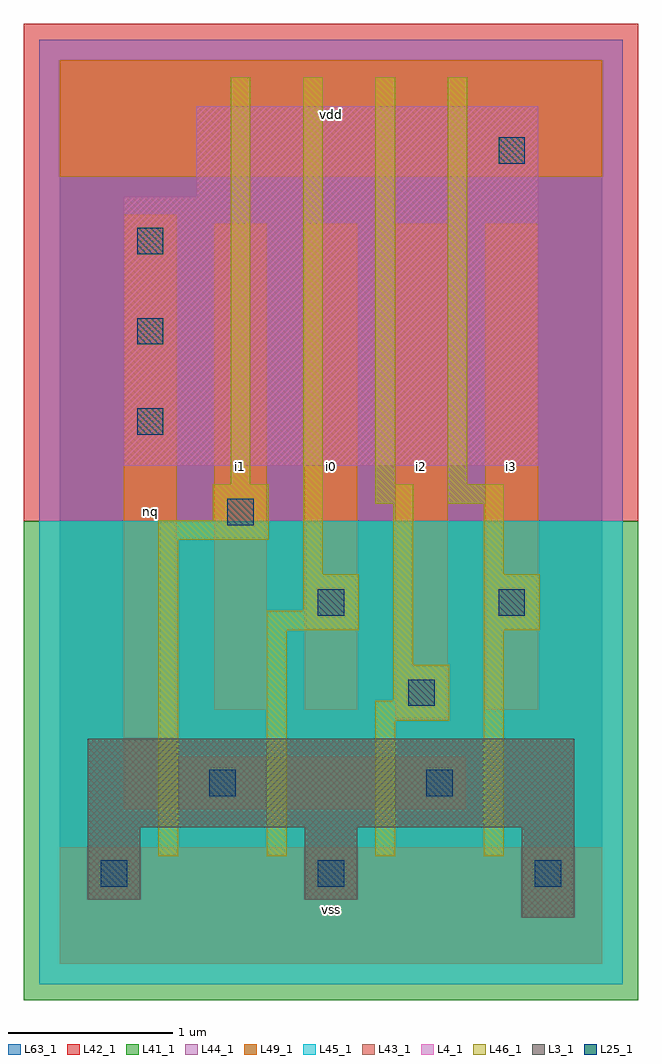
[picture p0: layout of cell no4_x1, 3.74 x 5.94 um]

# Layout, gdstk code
import gdstk
lib = gdstk.Library(unit=1e-6, precision=1e-09)
def R(c, l, rs):  # rectangles x0, y0, x1, y1
    for r in rs: c.add(gdstk.rectangle(r[:2], r[2:], *l))
def A(c, l, x, y, w, h, nx, ny, dx, dy):  # array of equal rectangles
    R(c, l, [(x+i*dx, y+j*dy, x+i*dx+w, y+j*dy+h) for i in range(nx) for j in range(ny)])
L3_1 = (3, 1)
L4_1 = (4, 1)
L25_1 = (25, 1)
L41_1 = (41, 1)
L42_1 = (42, 1)
L43_1 = (43, 1)
L44_1 = (44, 1)
L45_1 = (45, 1)
L46_1 = (46, 1)
L49_1 = (49, 1)
L63_1 = (63, 1)

no4_x1 = lib.new_cell('no4_x1')
R(no4_x1, L3_1, [(2.81,0.28,3.13,0.83), (0.17,0.39,0.49,0.83), (1.49,0.39,1.81,0.83), (0.17,0.83,3.13,1.37)])
R(no4_x1, L4_1, [(0.39,3.03,2.91,4.67), (0.83,4.67,2.91,5.22)])
A(no4_x1, L25_1, 0.25, 0.47, 0.16, 0.16, 3, 1, 1.32, 0)
A(no4_x1, L25_1, 0.47, 3.22, 0.16, 0.16, 1, 3, 0, 0.55)
R(no4_x1, L25_1, [(0.91,1.02,1.07,1.18), (2.23,1.02,2.39,1.18), (2.12,1.57,2.28,1.73), (1.57,2.12,1.73,2.28), (2.67,2.12,2.83,2.28), (1.02,2.67,1.18,2.83), (2.67,4.87,2.83,5.03)])
R(no4_x1, L41_1, [(-0.22,-0.22,3.52,2.695)])
R(no4_x1, L42_1, [(-0.22,2.695,3.52,5.72)])
R(no4_x1, L43_1, [(2.81,0.28,3.13,0.83), (0.17,0.39,0.49,0.83), (1.49,0.39,1.81,0.83), (0.17,0.83,3.13,1.37), (0.39,3.03,2.91,4.67), (0.83,4.67,2.91,5.22)])
R(no4_x1, L44_1, [(-0.125,2.695,3.425,5.625)])
R(no4_x1, L45_1, [(-0.125,-0.125,3.425,2.695)])
R(no4_x1, L46_1, [(0.6,0.655,0.72,2.58), (1.26,0.655,1.38,2.03), (1.92,0.655,2.04,1.48), (2.58,0.655,2.7,2.03), (1.92,1.48,2.37,1.6), (2.03,1.6,2.37,1.82), (2.03,1.82,2.15,2.8), (1.26,2.03,1.82,2.15), (2.58,2.03,2.92,2.37), (1.48,2.15,1.82,2.37), (1.48,2.37,1.6,5.395), (2.58,2.37,2.7,2.8), (0.6,2.58,1.27,2.7), (0.93,2.7,1.27,2.92), (1.92,2.8,2.15,2.92), (2.36,2.8,2.7,2.92), (1.04,2.92,1.16,5.395), (1.92,2.92,2.04,5.395), (2.36,2.92,2.48,5.395)])
R(no4_x1, L49_1, [(0,0,3.3,0.71), (0.39,0.94,2.47,1.26), (0.39,1.26,0.71,4.56), (2.04,1.49,2.36,4.505), (0.94,1.545,1.26,4.505), (1.49,1.545,1.81,4.505), (2.59,1.545,2.91,4.505), (0,4.79,3.3,5.5)])
R(no4_x1, L63_1, [(0,0,3.3,5.5)])
no4_x1.add(gdstk.Label('nq', (0.55,2.75), layer=49, texttype=1))
no4_x1.add(gdstk.Label('nq', (0.55,2.75), layer=49, texttype=1))
no4_x1.add(gdstk.Label('i1', (1.1,3.025), layer=49, texttype=1))
no4_x1.add(gdstk.Label('i1', (1.1,3.025), layer=49, texttype=1))
no4_x1.add(gdstk.Label('vss', (1.65,0.33), layer=49, texttype=1))
no4_x1.add(gdstk.Label('vss', (1.65,0.33), layer=49, texttype=1))
no4_x1.add(gdstk.Label('i0', (1.65,3.025), layer=49, texttype=1))
no4_x1.add(gdstk.Label('i0', (1.65,3.025), layer=49, texttype=1))
no4_x1.add(gdstk.Label('i2', (2.2,3.025), layer=49, texttype=1))
no4_x1.add(gdstk.Label('i2', (2.2,3.025), layer=49, texttype=1))
no4_x1.add(gdstk.Label('vdd', (1.65,5.17), layer=49, texttype=1))
no4_x1.add(gdstk.Label('vdd', (1.65,5.17), layer=49, texttype=1))
no4_x1.add(gdstk.Label('i3', (2.75,3.025), layer=49, texttype=1))
no4_x1.add(gdstk.Label('i3', (2.75,3.025), layer=49, texttype=1))

lib.write_gds('no4_x1.gds')
